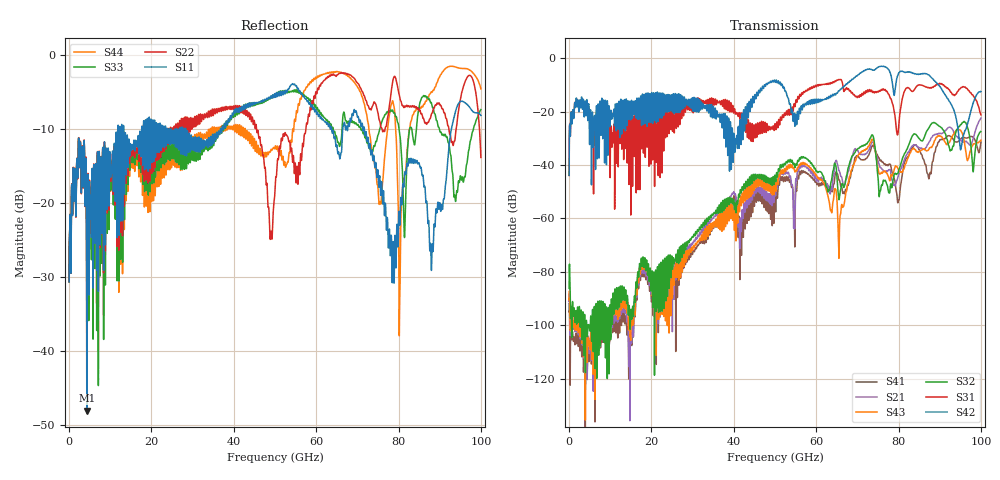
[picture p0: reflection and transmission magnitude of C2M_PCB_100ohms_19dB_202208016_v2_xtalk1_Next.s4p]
! Info: Touchstone file created by Circ.  Input file=Intel_C2M_200G_6p5in_202208016_staggered.circ
# Hz S RI R 50
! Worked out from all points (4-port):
!   10000 points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, 10 MHz to 100 GHz, reference 50 ohm
!   strongest paths, dB at 10 MHz, 25.01 GHz, 50.01 GHz, 75.01 GHz, 100 GHz:
!     S42: -43.9, -16.1, -8.7, -3.4, -12.5
!     S31: -43.9, -19.1, -24.5, -12.6, -21.2
!     S32: -86.2, -75.7, -44.0, -44.6, -27.5
!     S43: -90.2, -79.3, -46.4, -41.2, -30.7
!     S21: -90.5, -78.8, -48.8, -38.6, -22.5
!     S41: -92.0, -79.1, -52.2, -37.1, -31.5
!   lowest |S11| = -48.1 dB at 4.31 GHz (marker M1), VSWR 1.01, Z = 49.9 - j0.387 ohm
!   |S11| at or under -10 dB: start of sweep to 11.84 GHz; 28.32 GHz to 36.75 GHz (8.428 GHz wide, 25.9 % of centre); 71.72 GHz to 92.82 GHz (21.1 GHz wide, 25.6 % of centre)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
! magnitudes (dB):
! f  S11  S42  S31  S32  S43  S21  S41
! 10 MHz  -30.7  -43.9  -43.9  -86.2  -90.2  -90.5  -92.0
! 4.31 GHz  -48.1  -15.6  -17.0  -100.7  -107.4  -105.7  -111.2
! 40.22 GHz  -7.5  -35.2  -19.2  -55.7  -60.1  -51.1  -54.3
! 73.48 GHz  -12.8  -4.3  -12.1  -28.8  -30.4  -31.7  -33.1
! 76.23 GHz  -19.1  -3.0  -11.5  -46.1  -42.4  -41.9  -39.0
! 95.17 GHz  -6.2  -33.9  -11.0  -24.9  -27.3  -30.6  -30.2
! 100 GHz  -8.1  -12.5  -21.2  -27.5  -30.7  -22.5  -31.5
